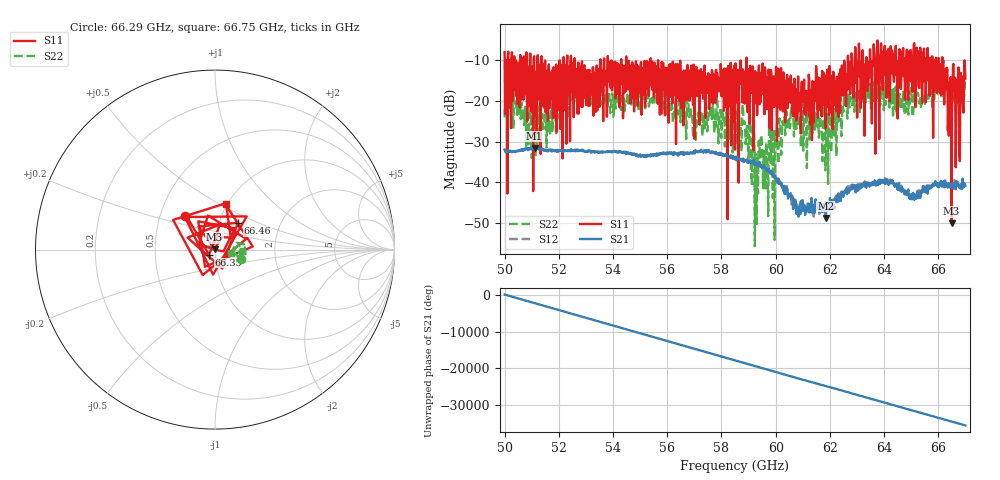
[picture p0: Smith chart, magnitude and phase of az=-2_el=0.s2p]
!Created with skrf (http://scikit-rf.org).
# GHz S RI R 50.0
!freq ReS11 ImS11 ReS21 ImS21 ReS12 ImS12 ReS22 ImS22
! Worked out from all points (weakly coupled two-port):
!   1001 points, 50 GHz to 67 GHz, reference 50 ohm
!   highest |S21| = -31.55 dB at 51.1 GHz (marker M1); lowest = -48.8 dB at 61.85 GHz (marker M2)
!   lowest |S11| = -50.1 dB at 66.49 GHz (marker M3), VSWR 1.01, Z = 49.8 + j0.205 ohm
!   |S11| at or under -10 dB: 52.58 GHz to 53.53 GHz (948.6 MHz wide, 1.79 % of centre); 55.66 GHz to 58.92 GHz (3.263 GHz wide, 5.69 % of centre); 58.93 GHz to 62.66 GHz (3.734 GHz wide, 6.14 % of centre) (the widest 3 of 61)
!   |S22| runs from -55.7 to -13.2 dB; largest |S21 - S12| = 0.0023
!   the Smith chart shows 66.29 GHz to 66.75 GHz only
!   S11 on the Smith chart (normalised r, x): 66.29 GHz: 0.67, +0.26; 66.35 GHz: 0.93, -0.05; 66.46 GHz: 1.23, +0.38; 66.75 GHz: 0.98, +0.53
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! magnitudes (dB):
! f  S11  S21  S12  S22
! 50 GHz  -8.0  -32.0  -32.1  -24.0
! 50.15 GHz  -21.5  -32.4  -32.5  -20.7
! 51.1 GHz  -24.1  -31.5  -31.7  -24.7
! 52.84 GHz  -11.8  -32.3  -32.3  -19.5
! 55.68 GHz  -13.2  -33.0  -33.1  -21.4
! 58.5 GHz  -32.0  -34.2  -34.4  -22.9
! 59.11 GHz  -12.9  -35.3  -35.3  -37.6
! 59.32 GHz  -23.5  -35.3  -35.2  -34.1
! 59.44 GHz  -13.8  -35.9  -36.0  -34.2
! 59.66 GHz  -15.3  -37.1  -36.9  -30.3
! 60.34 GHz  -14.9  -42.9  -41.6  -25.8
! 61.34 GHz  -29.6  -46.2  -47.3  -26.6
! 61.85 GHz  -14.1  -48.8  -46.1  -35.1
! 62.61 GHz  -16.4  -41.5  -41.4  -19.5
! 64.18 GHz  -11.7  -39.7  -39.6  -17.7
! 65.56 GHz  -11.6  -41.7  -41.6  -19.5
! 66.29 GHz  -12.0  -40.8  -41.1  -16.2
! 66.35 GHz  -27.2  -41.3  -40.7  -15.4
! 66.46 GHz  -14.2  -40.6  -41.5  -17.3
! 66.49 GHz  -50.1  -41.4  -40.9  -15.3
! 66.75 GHz  -11.7  -40.7  -41.5  -20.9
! 67 GHz  -14.5  -40.9  -40.7  -14.3
